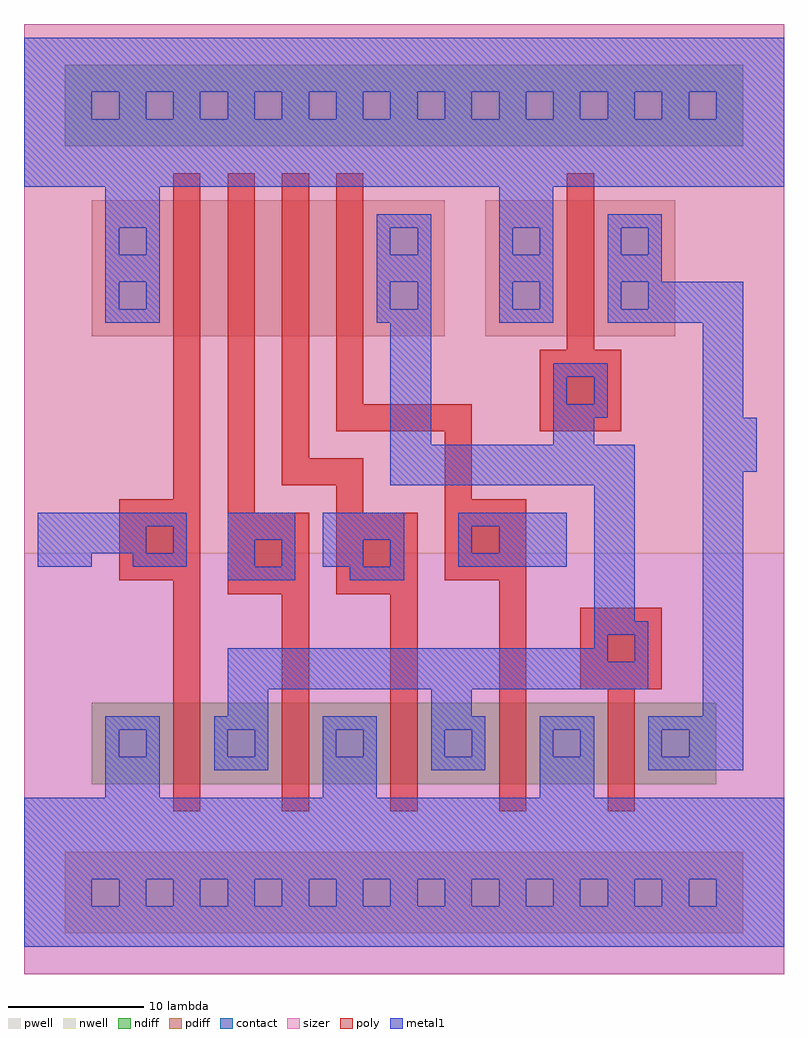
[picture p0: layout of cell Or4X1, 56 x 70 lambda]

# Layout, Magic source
magic
tech LibreSilicon-test000-concept-mg-70-7
<< sizer >>
rect 0 0 56 70
<< metal1 >>
rect 0 65 56 69
rect 0 63 5 65
rect 7 63 9 65
rect 11 63 13 65
rect 15 63 17 65
rect 19 63 21 65
rect 23 63 25 65
rect 27 63 29 65
rect 31 63 33 65
rect 35 63 37 65
rect 39 63 41 65
rect 43 63 45 65
rect 47 63 49 65
rect 51 63 56 65
rect 0 58 56 63
rect 6 55 10 58
rect 35 55 39 58
rect 26 55 30 56
rect 43 55 47 56
rect 6 53 7 55
rect 9 53 10 55
rect 26 53 27 55
rect 29 53 30 55
rect 35 53 36 55
rect 38 53 39 55
rect 43 53 44 55
rect 46 53 47 55
rect 6 51 10 53
rect 26 51 30 53
rect 35 51 39 53
rect 43 51 47 53
rect 6 49 7 51
rect 9 49 10 51
rect 26 49 27 51
rect 29 49 30 51
rect 35 49 36 51
rect 38 49 39 51
rect 43 49 44 51
rect 46 49 53 51
rect 6 48 10 49
rect 26 48 30 49
rect 35 48 39 49
rect 43 48 53 49
rect 27 39 30 48
rect 50 41 53 48
rect 39 44 43 45
rect 39 42 40 44
rect 42 42 43 44
rect 39 41 43 42
rect 39 39 42 41
rect 50 37 54 41
rect 27 36 45 39
rect 50 19 53 37
rect 42 26 45 36
rect 1 33 12 34
rect 15 32 20 34
rect 22 32 28 34
rect 32 33 40 34
rect 1 31 9 33
rect 11 31 12 33
rect 32 31 33 33
rect 35 31 40 33
rect 15 30 17 32
rect 19 30 20 32
rect 22 30 25 32
rect 27 30 28 32
rect 1 30 5 31
rect 8 30 12 31
rect 32 30 40 31
rect 15 29 20 30
rect 24 29 28 30
rect 42 25 46 26
rect 42 24 43 25
rect 45 23 46 25
rect 15 23 43 24
rect 15 21 46 23
rect 15 19 18 21
rect 30 19 33 21
rect 6 18 10 19
rect 14 18 18 19
rect 22 18 26 19
rect 30 18 34 19
rect 38 18 42 19
rect 46 18 53 19
rect 6 16 7 18
rect 9 16 10 18
rect 14 16 15 18
rect 17 16 18 18
rect 22 16 23 18
rect 25 16 26 18
rect 30 16 31 18
rect 33 16 34 18
rect 38 16 39 18
rect 41 16 42 18
rect 46 16 47 18
rect 49 16 53 18
rect 6 13 10 16
rect 14 15 18 16
rect 22 13 26 16
rect 30 15 34 16
rect 38 13 42 16
rect 46 15 53 16
rect 0 7 56 13
rect 0 5 5 7
rect 7 5 9 7
rect 11 5 13 7
rect 15 5 17 7
rect 19 5 21 7
rect 23 5 25 7
rect 27 5 29 7
rect 31 5 33 7
rect 35 5 37 7
rect 39 5 41 7
rect 43 5 45 7
rect 47 5 49 7
rect 51 5 56 7
rect 0 2 56 5
<< contact >>
rect 5 63 7 65
rect 9 63 11 65
rect 13 63 15 65
rect 17 63 19 65
rect 21 63 23 65
rect 25 63 27 65
rect 29 63 31 65
rect 33 63 35 65
rect 37 63 39 65
rect 41 63 43 65
rect 45 63 47 65
rect 49 63 51 65
rect 7 53 9 55
rect 27 53 29 55
rect 36 53 38 55
rect 44 53 46 55
rect 7 49 9 51
rect 27 49 29 51
rect 36 49 38 51
rect 44 49 46 51
rect 40 42 42 44
rect 9 31 11 33
rect 33 31 35 33
rect 17 30 19 32
rect 25 30 27 32
rect 43 23 45 25
rect 7 16 9 18
rect 15 16 17 18
rect 23 16 25 18
rect 31 16 33 18
rect 39 16 41 18
rect 47 16 49 18
rect 5 5 7 7
rect 9 5 11 7
rect 13 5 15 7
rect 17 5 19 7
rect 21 5 23 7
rect 25 5 27 7
rect 29 5 31 7
rect 33 5 35 7
rect 37 5 39 7
rect 41 5 43 7
rect 45 5 47 7
rect 49 5 51 7
<< poly >>
rect 11 35 13 59
rect 15 34 17 59
rect 19 38 21 59
rect 23 42 25 59
rect 40 46 42 59
rect 38 40 44 46
rect 23 40 33 42
rect 31 35 33 40
rect 19 36 25 38
rect 23 34 25 36
rect 7 29 13 35
rect 31 29 37 35
rect 15 28 21 34
rect 23 28 29 34
rect 11 12 13 29
rect 35 12 37 29
rect 19 12 21 28
rect 27 12 29 28
rect 41 21 47 27
rect 43 12 45 21
<< ndiff >>
rect 3 61 53 67
rect 5 14 51 20
<< pdiff >>
rect 5 47 31 57
rect 34 47 48 57
rect 3 3 53 9
<< nwell >>
rect 0 31 56 70
<< pwell >>
rect 0 0 56 31
<< end >>
